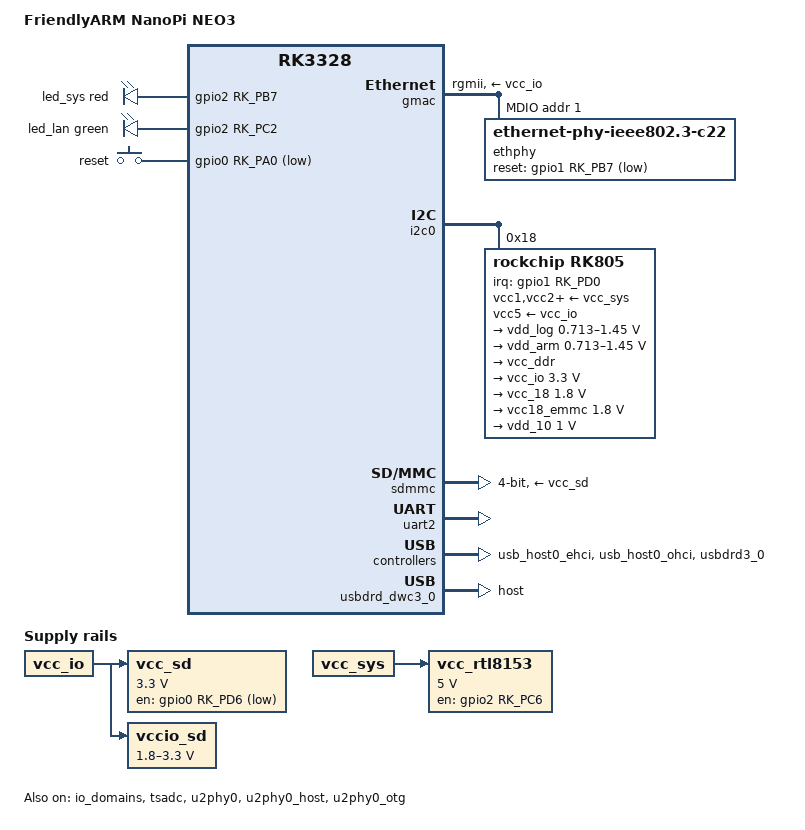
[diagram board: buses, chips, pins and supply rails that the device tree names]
/*
 * Device Tree Source for FriendlyARM NanoPi NEO3
 *
 * Copyright (C) 2019-2020 FriendlyElec
 * Copyright (C) 2020 mj22226 <https://github.com/openwrt/openwrt/pull/3730>
 * Copyright (C) 2025 Your Name <your.email@example.com>
 *
 * Based on FriendlyElec NanoPi NEO3 Volumio DTS and OpenWrt PR #3730
 * SPDX-License-Identifier: (GPL-2.0-or-later OR MIT)
 */

/dts-v1/;

#include <dt-bindings/gpio/gpio.h>
#include <dt-bindings/input/input.h>
#include <dt-bindings/leds/common.h>
#include "rk3328.dtsi"

/ {
    model = "FriendlyARM NanoPi NEO3";
    compatible = "friendlyarm,nanopi-neo3", "rockchip,rk3328";

    aliases {
        serial0 = &uart2;
        mmc0 = &sdmmc;
        ethernet0 = &gmac;
        led-boot = &led_sys;
        led-failsafe = &led_sys;
        led-running = &led_sys;
        led-upgrade = &led_sys;
    };

    chosen {
        stdout-path = "serial0:1500000n8";
    };

    leds {
        compatible = "gpio-leds";
        pinctrl-names = "default";
        pinctrl-0 = <&led_sys_pin>, <&led_lan_pin>;

        led_sys: led-0 {
            color = <LED_COLOR_ID_RED>;
            function = LED_FUNCTION_STATUS;
            gpios = <&gpio2 RK_PB7 GPIO_ACTIVE_HIGH>;
            linux,default-trigger = "heartbeat";
        };

        led_lan: led-1 {
            color = <LED_COLOR_ID_GREEN>;
            function = LED_FUNCTION_LAN;
            gpios = <&gpio2 RK_PC2 GPIO_ACTIVE_HIGH>;
            default-state = "on";
        };
    };

    keys {
        compatible = "gpio-keys";
        pinctrl-names = "default";
        pinctrl-0 = <&key_reset_pin>;

        key_reset: key-reset {
            label = "reset";
            linux,code = <KEY_RESTART>;
            gpios = <&gpio0 RK_PA0 GPIO_ACTIVE_LOW>;
            debounce-interval = <50>;
        };
    };

    vcc_sd: sdmmc-regulator {
        compatible = "regulator-fixed";
        regulator-name = "vcc_sd";
        regulator-min-microvolt = <3300000>;
        regulator-max-microvolt = <3300000>;
        gpio = <&gpio0 RK_PD6 GPIO_ACTIVE_LOW>;
        pinctrl-names = "default";
        pinctrl-0 = <&sdmmc0m1_pin>;
        regulator-boot-on;
        vin-supply = <&vcc_io>;
    };

    vccio_sd: sdmmcio-regulator {
        compatible = "regulator-gpio";
        regulator-name = "vccio_sd";
        regulator-min-microvolt = <1800000>;
        regulator-max-microvolt = <3300000>;
        regulator-always-on;
        regulator-boot-on;
        regulator-type = "voltage";
        gpios = <&gpio1 RK_PD4 GPIO_ACTIVE_HIGH>;
        states = <1800000 0x1>,
                 <3300000 0x0>;
        vin-supply = <&vcc_io>;
    };

    vcc_rtl8153: vcc-rtl8153-regulator {
        compatible = "regulator-fixed";
        regulator-name = "vcc_rtl8153";
        regulator-min-microvolt = <5000000>;
        regulator-max-microvolt = <5000000>;
        enable-active-high;
        gpio = <&gpio2 RK_PC6 GPIO_ACTIVE_HIGH>;
        pinctrl-names = "default";
        pinctrl-0 = <&vcc_rtl8153_pin>;
        vin-supply = <&vcc_sys>;
    };
};

&cpu0 {
    cpu-supply = <&vdd_arm>;
};

&cpu1 {
    cpu-supply = <&vdd_arm>;
};

&cpu2 {
    cpu-supply = <&vdd_arm>;
};

&cpu3 {
    cpu-supply = <&vdd_arm>;
};

&gmac {
    assigned-clocks = <&cru SCLK_MAC>, <&cru SCLK_MAC2IO_EXT>;
    clock_in_out = "input";
    phy-supply = <&vcc_io>;
    phy-mode = "rgmii";
    pinctrl-names = "default";
    pinctrl-0 = <&rgmiim1_pins>;
    rx_delay = <0x10>;
    tx_delay = <0x10>;
    status = "okay";

    mdio {
        #address-cells = <1>;
        #size-cells = <0>;

        ethphy: ethernet-phy@1 {
            compatible = "ethernet-phy-ieee802.3-c22";
            reg = <0x1>;
            pinctrl-names = "default";
            pinctrl-0 = <&phy_reset_pin>;
            reset-assert-us = <10000>;
            reset-deassert-us = <50000>;
            reset-gpios = <&gpio1 RK_PB7 GPIO_ACTIVE_LOW>;
        };
    };
};

&i2c0 {
    status = "okay";

    rk805: pmic@18 {
        compatible = "rockchip,rk805";
        reg = <0x18>;
        interrupt-parent = <&gpio1>;
        interrupts = <RK_PD0 IRQ_TYPE_LEVEL_LOW>;
        pinctrl-names = "default";
        pinctrl-0 = <&pmic_int_l_pin>;
        rockchip,system-power-controller;
        #clock-cells = <1>;
        clock-output-names = "xin32k", "rk805-clkout2";
        gpio-controller;
        #gpio-cells = <2>;
        wakeup-source;

        vcc1-supply = <&vcc_sys>;
        vcc2-supply = <&vcc_sys>;
        vcc3-supply = <&vcc_sys>;
        vcc4-supply = <&vcc_sys>;
        vcc5-supply = <&vcc_io>;
        vcc6-supply = <&vcc_sys>;

        regulators {
            vdd_log: DCDC_REG1 {
                regulator-name = "vdd_log";
                regulator-always-on;
                regulator-boot-on;
                regulator-min-microvolt = <712500>;
                regulator-max-microvolt = <1450000>;
                regulator-ramp-delay = <12500>;
            };

            vdd_arm: DCDC_REG2 {
                regulator-name = "vdd_arm";
                regulator-always-on;
                regulator-boot-on;
                regulator-min-microvolt = <712500>;
                regulator-max-microvolt = <1450000>;
                regulator-ramp-delay = <12500>;
            };

            vcc_ddr: DCDC_REG3 {
                regulator-name = "vcc_ddr";
                regulator-always-on;
                regulator-boot-on;
            };

            vcc_io: DCDC_REG4 {
                regulator-name = "vcc_io";
                regulator-always-on;
                regulator-boot-on;
                regulator-min-microvolt = <3300000>;
                regulator-max-microvolt = <3300000>;
            };

            vcc_18: LDO_REG1 {
                regulator-name = "vcc_18";
                regulator-always-on;
                regulator-boot-on;
                regulator-min-microvolt = <1800000>;
                regulator-max-microvolt = <1800000>;
            };

            vcc18_emmc: LDO_REG2 {
                regulator-name = "vcc18_emmc";
                regulator-always-on;
                regulator-boot-on;
                regulator-min-microvolt = <1800000>;
                regulator-max-microvolt = <1800000>;
            };

            vdd_10: LDO_REG3 {
                regulator-name = "vdd_10";
                regulator-always-on;
                regulator-boot-on;
                regulator-min-microvolt = <1000000>;
                regulator-max-microvolt = <1000000>;
            };
        };
    };
};

&io_domains {
    status = "okay";
    pmuio-supply = <&vcc_18>;
    vccio1-supply = <&vcc_io>;
    vccio2-supply = <&vcc_18>;
    vccio3-supply = <&vccio_sd>;
    vccio4-supply = <&vcc_18>;
    vccio5-supply = <&vcc_io>;
    vccio6-supply = <&vcc_io>;
};

&pinctrl {
    keys {
        key_reset_pin: key-reset-pin {
            rockchip,pins = <0 RK_PA0 RK_FUNC_GPIO &pcfg_pull_up>;
        };
    };

    leds {
        led_sys_pin: led-sys-pin {
            rockchip,pins = <2 RK_PB7 RK_FUNC_GPIO &pcfg_pull_none>;
        };
        led_lan_pin: led-lan-pin {
            rockchip,pins = <2 RK_PC2 RK_FUNC_GPIO &pcfg_pull_none>;
        };
    };

    pmic {
        pmic_int_l_pin: pmic-int-l-pin {
            rockchip,pins = <1 RK_PD0 RK_FUNC_GPIO &pcfg_pull_up>;
        };
    };

    sdcard {
        sdmmc0m1_pin: sdmmc0m1-pin {
            rockchip,pins = <0 RK_PD6 RK_FUNC_GPIO &pcfg_pull_none>;
        };
    };

    ethernet-phy {
        phy_reset_pin: phy-reset-pin {
            rockchip,pins = <1 RK_PB7 RK_FUNC_GPIO &pcfg_pull_none>;
        };
    };

    vcc-rtl8153 {
        vcc_rtl8153_pin: vcc-rtl8153-pin {
            rockchip,pins = <2 RK_PC6 RK_FUNC_GPIO &pcfg_pull_none>;
        };
    };
};

&sdmmc {
    bus-width = <4>;
    cap-mmc-highspeed;
    cap-sd-highspeed;
    disable-wp;
    pinctrl-names = "default";
    pinctrl-0 = <&sdmmc0_bus4 &sdmmc0_cmd &sdmmc0_det &sdmmc0_clk>;
    sd-uhs-sdr12;
    sd-uhs-sdr25;
    sd-uhs-sdr50;
    sd-uhs-sdr104;
    vmmc-supply = <&vcc_sd>;
    vqmmc-supply = <&vccio_sd>;
    status = "okay";
};

&tsadc {
    status = "okay";
    rockchip,hw-tshut-mode = <1>; // CRU mode (reset on overheat)
    rockchip,hw-tshut-polarity = <1>; // Active high
    rockchip,hw-tshut-temp = <95000>; // Shutdown at 95°C
};

&uart2 {
    status = "okay";
};

&usb_host0_ehci {
    status = "okay";
};

&usb_host0_ohci {
    status = "okay";
};

&usbdrd3_0 {
    status = "okay";
};

&usbdrd_dwc3_0 {
    status = "okay";
    dr_mode = "host";
};

&u2phy0 {
    status = "okay";
};

&u2phy0_host {
    phy-supply = <&vcc_rtl8153>;
    status = "okay";
};

&u2phy0_otg {
    status = "okay";
};
